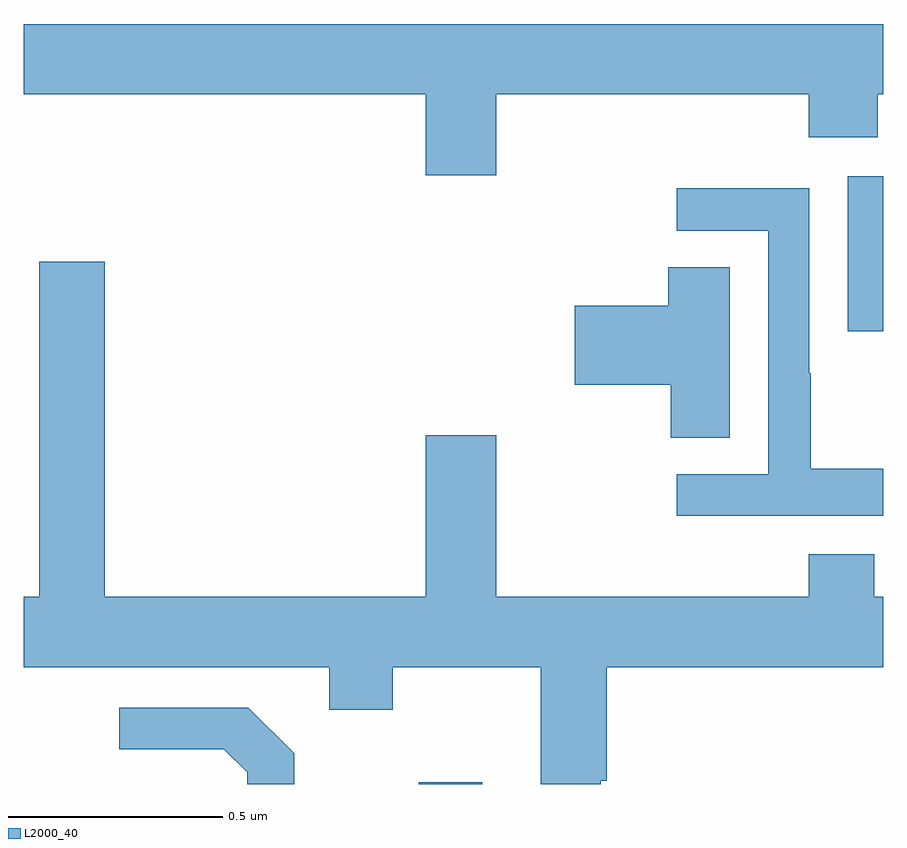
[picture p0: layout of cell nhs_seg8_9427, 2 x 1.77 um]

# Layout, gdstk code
import gdstk
lib = gdstk.Library(unit=1e-6, precision=1e-09)
def R(c, l, rs):  # rectangles x0, y0, x1, y1
    for r in rs: c.add(gdstk.rectangle(r[:2], r[2:], *l))
def P(c, l, *ps):  # polygons
    for p in ps: c.add(gdstk.Polygon(p, *l))
L2000_40 = (2000, 40)

nhs_seg8_9427 = lib.new_cell('nhs_seg8_9427')
R(nhs_seg8_9427, L2000_40, [(236.919,1110.9,237.067,1110.904), (237.917,1111.953,238,1112.314)])
P(nhs_seg8_9427, L2000_40, [(237.1,1112.504),(237.827,1112.504),(237.827,1112.405),(237.987,1112.405),(237.987,1112.504),(238,1112.504),(238,1112.668),(236,1112.668),(236,1112.504),(236.936,1112.504),(236.936,1112.316),(237.1,1112.316)],
  [(238,1111.633),(237.831,1111.633),(237.831,1111.856),(237.828,1111.856),(237.828,1112.286),(237.519,1112.286),(237.519,1112.187),(237.732,1112.187),(237.732,1111.62),(237.519,1111.62),(237.519,1111.524),(238,1111.524)],
  [(238,1111.336),(237.979,1111.336),(237.979,1111.435),(237.827,1111.435),(237.827,1111.336),(237.1,1111.336),(237.1,1111.711),(236.936,1111.711),(236.936,1111.336),(236.189,1111.336),(236.189,1112.115),(236.036,1112.115),(236.036,1111.336),(236,1111.336),(236,1111.172),(236.711,1111.172),(236.711,1111.073),(236.859,1111.073),(236.859,1111.172),(237.203,1111.172),(237.203,1110.9),(237.343,1110.9),(237.343,1110.907),(237.356,1110.907),(237.356,1111.172),(238,1111.172)],
  [(237.643,1112.102),(237.5,1112.102),(237.5,1112.012),(237.282,1112.012),(237.282,1111.829),(237.505,1111.829),(237.505,1111.705),(237.643,1111.705)],
  [(236.629,1110.971),(236.523,1111.077),(236.223,1111.077),(236.223,1110.981),(236.466,1110.981),(236.52,1110.927),(236.52,1110.9),(236.629,1110.9)])

lib.write_gds('nhs_seg8_9427.gds')
